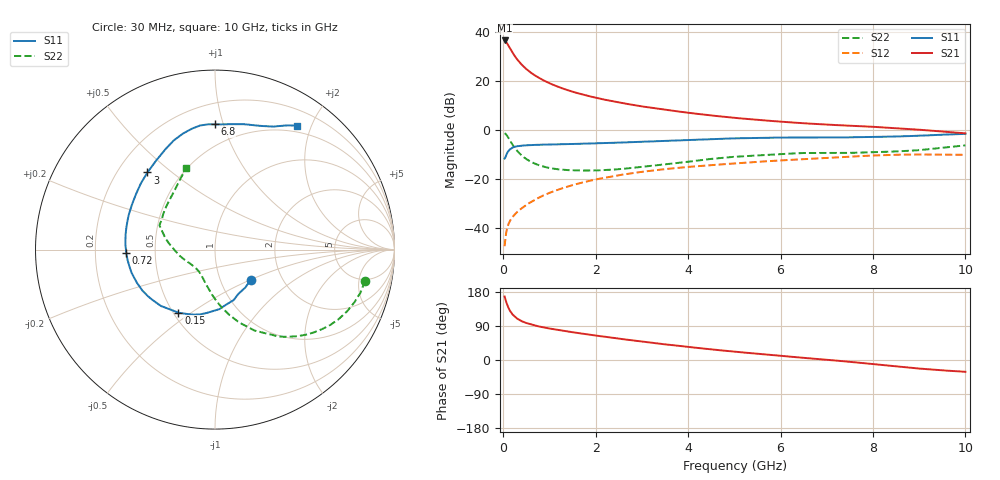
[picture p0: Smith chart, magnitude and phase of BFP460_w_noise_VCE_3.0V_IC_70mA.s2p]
! (c) 2016  Infineon Technologies AG, Munich
! Infineon Technologies  Discrete & RF Semiconductors
! BFP460
! VCE =  3.0 V,  IC =  70 mA
! Common Emitter S-Parameters:  Jan 2016
# GHz  S  MA  R  50
!  f  S11  S21  S12  S22
! GHz  MAG  ANG  MAG  ANG  MAG  ANG  MAG  ANG
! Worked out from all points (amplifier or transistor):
!   229 points, 30 MHz to 10 GHz, reference 50 ohm
!   highest |S21| = 36.4 dB at 30 MHz (marker M1)
!   |S21| within 3 dB of that: start of sweep to 139.7 MHz
!   unconditionally stable (mu >= 1): 864.9 MHz to 7.365 GHz
!   at 280 MHz: K = 0.71, MSG = 31.5 dB, |S12| = -33.8 dB
!   at 1.78 GHz: K = 1.05, MAG = 16.2 dB, |S12| = -21.1 dB
!   at 10 GHz: K = 0.96, MSG = 4.4 dB, |S12| = -10.2 dB
!   lowest NFmin = 2.03 dB at 3.5 GHz
!   S11 on the Smith chart (normalised r, x): 30 MHz: 1.39, -0.50; 150 MHz: 0.53, -0.45; 720 MHz: 0.34, -0.01; 3 GHz: 0.32, +0.41; 6.8 GHz: 0.34, +0.94; 10 GHz: 0.41, +1.79
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0.03  0.2608 -40.2  65.83 167.6  0.0043 83.7  0.8538 -11.8
0.04  0.2706 -51.4  64.71 163.1  0.0053 80.4  0.8452 -16.5
0.055  0.2887 -66.1  62.28 157.0  0.007 76.9  0.8205 -22.9
0.07  0.3144 -79.2  60 151.2  0.0086 73.3  0.7907 -29.3
0.085  0.338 -89.4  57.08 146.2  0.0098 70.2  0.754 -35.0
0.11  0.3702 -102.9  52.17 138.7  0.0119 66.7  0.6918 -43.3
0.15  0.406 -120.1  44.7 129.0  0.0143 63.1  0.5974 -54.0
0.2  0.4354 -133.9  37.27 120.4  0.0168 61.3  0.5016 -64.0
0.24  0.4483 -141.7  32.67 115.5  0.0186 61.1  0.4431 -69.8
0.3  0.4647 -150.7  27.22 109.3  0.0212 61.2  0.3746 -77.4
0.34  0.47 -155.0  24.5 106.3  0.0228 61.9  0.3409 -81.2
0.4  0.4769 -160.8  21.17 102.4  0.0254 62.7  0.3006 -86.5
0.5  0.4848 -167.6  17.24 97.6  0.0297 64.0  0.2541 -93.3
0.72  0.4948 -178.1  12.22 90.1  0.0394 66.0  0.1988 -104.6
1.1  0.5056 169.7  8.091 81.0  0.0567 66.3  0.1616 -118.2
1.7  0.5208 155.6  5.285 69.7  0.0842 63.3  0.1487 -132.6
3  0.5714 131.2  3 48.6  0.1399 52.5  0.1766 -160.7
3.4  0.5893 124.9  2.645 43.0  0.155 48.7  0.1941 -168.1
5.1  0.6741 104.3  1.721 20.9  0.2102 35.1  0.2866 166.3
6.8  0.6979 90.1  1.31 2.7  0.2619 22.2  0.3383 155.3
8.4  0.7287 71.6  1.094 -15.7  0.3096 7.6  0.3606 139.6
10  0.8272 56.6  0.849 -31.1  0.3105 -5.2  0.4835 109.2
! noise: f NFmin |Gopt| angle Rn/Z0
0.45  2.18  0.41  -169  0.13
0.9  2.25  0.38  -159  0.14
1.9  2.41  0.49  -138  0.2
3.5  2.03  0.78  -114  0.43
